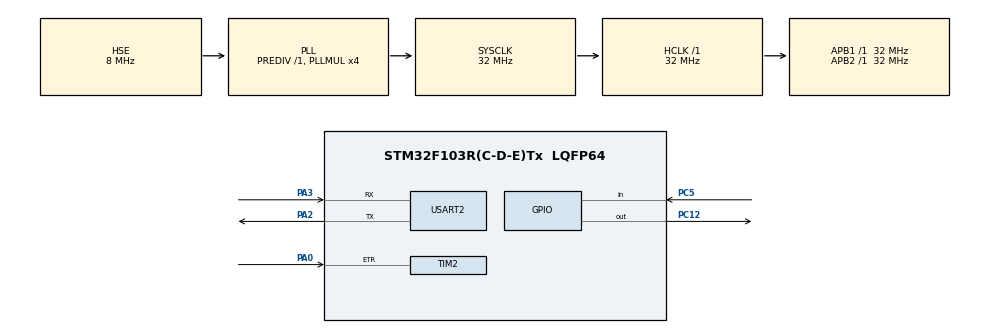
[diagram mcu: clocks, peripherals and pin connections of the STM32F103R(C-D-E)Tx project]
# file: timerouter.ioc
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Mcu.Family=STM32F1
Mcu.Name=STM32F103R(C-D-E)Tx
Mcu.Package=LQFP64
NVIC.PriorityGroup=NVIC_PRIORITYGROUP_4
NVIC.TIM2_IRQn=true\:0\:0\:false\:false\:true\:true\:true\:true
NVIC.USART2_IRQn=true\:0\:0\:false\:false\:true\:true\:true\:true
PA0-WKUP.Signal=S_TIM2_CH1_ETR
PA2.Mode=Asynchronous
PA2.Signal=USART2_TX
PA3.Mode=Asynchronous
PA3.Signal=USART2_RX
PC12.Signal=GPIO_Output
PC5.GPIO_PuPd=GPIO_PULLUP
PC5.Signal=GPIO_Input
PD0-OSC_IN.Mode=HSE-External-Oscillator
PD0-OSC_IN.Signal=RCC_OSC_IN
PD1-OSC_OUT.Mode=HSE-External-Oscillator
PD1-OSC_OUT.Signal=RCC_OSC_OUT
ProjectManager.HeapSize=0x200
ProjectManager.StackSize=0x400
ProjectManager.TargetToolchain=MDK-ARM V5.32
RCC.AHBFreq_Value=32000000
RCC.APB1Freq_Value=32000000
RCC.APB1TimFreq_Value=32000000
RCC.APB2Freq_Value=32000000
RCC.APB2TimFreq_Value=32000000
RCC.HCLKFreq_Value=32000000
RCC.PLLMUL=RCC_PLL_MUL4
RCC.PLLSourceVirtual=RCC_PLLSOURCE_HSE
RCC.SYSCLKFreq_VALUE=32000000
RCC.SYSCLKSource=RCC_SYSCLKSOURCE_PLLCLK
RCC.USBFreq_Value=32000000
SH.S_TIM2_CH1_ETR.0=TIM2_ETR,ClockSourceETR_Mode2
USART2.VirtualMode=VM_ASYNC
VP_SYS_VS_ND.Mode=No_Debug
board=custom

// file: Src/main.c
/* USER CODE BEGIN Header */
/**
  ******************************************************************************
  * @file           : main.c
  * @brief          : Main program body
  ******************************************************************************
  * @attention
  *
  * Copyright (c) 2022 STMicroelectronics.
  * All rights reserved.
  *
  * This software is licensed under terms that can be found in the LICENSE file
  * in the root directory of this software component.
  * If no LICENSE file comes with this software, it is provided AS-IS.
  *
  ******************************************************************************
  */
/* USER CODE END Header */
#include "main.h"

/* USER CODE BEGIN Includes */
#include <stdio.h>
/* USER CODE END Includes */

TIM_HandleTypeDef htim2;

UART_HandleTypeDef huart2;

/* USER CODE BEGIN PV */
uint8_t Result=0;
/* USER CODE END PV */

void SystemClock_Config(void);
static void MX_GPIO_Init(void);
static void MX_TIM2_Init(void);
static void MX_USART2_UART_Init(void);

int main(void)
{

  /* MCU Configuration--------------------------------------------------------*/

  /* Reset of all peripherals, Initializes the Flash interface and the Systick. */
  HAL_Init();

  /* Configure the system clock */
  SystemClock_Config();

  /* Initialize all configured peripherals */
  MX_GPIO_Init();
  MX_TIM2_Init();
  MX_USART2_UART_Init();
  /* USER CODE BEGIN 2 */
HAL_TIM_Base_Start(&htim2);//启动定时器2用于脉冲计数
printf("Timer count function test:");
  /* USER CODE END 2 */

  /* Infinite loop */
  while (1)
  {

    /* USER CODE BEGIN 3 */
		if(HAL_GPIO_ReadPin(GPIOC,GPIO_PIN_5)==GPIO_PIN_RESET)
				{
					HAL_Delay(10);
					if(HAL_GPIO_ReadPin(GPIOC,GPIO_PIN_5)==GPIO_PIN_RESET){
							//
						HAL_GPIO_WritePin(GPIOC,GPIO_PIN_12,GPIO_PIN_SET);
						HAL_Delay(1);
						HAL_GPIO_WritePin(GPIOC,GPIO_PIN_12,GPIO_PIN_RESET);
						HAL_Delay(1);
						Result=__HAL_TIM_GET_COUNTER(&htim2);//读取计数值
						printf("count = %d.\n",Result);///显示结果
					}
					while(HAL_GPIO_ReadPin(GPIOC,GPIO_PIN_5)==GPIO_PIN_RESET);
				}

  }
  /* USER CODE END 3 */
}

void SystemClock_Config(void)
{
  RCC_OscInitTypeDef RCC_OscInitStruct = {0};
  RCC_ClkInitTypeDef RCC_ClkInitStruct = {0};

  /** Initializes the RCC Oscillators according to the specified parameters
  * in the RCC_OscInitTypeDef structure.
  */
  RCC_OscInitStruct.OscillatorType = RCC_OSCILLATORTYPE_HSE;
  RCC_OscInitStruct.HSEState = RCC_HSE_ON;
  RCC_OscInitStruct.HSEPredivValue = RCC_HSE_PREDIV_DIV1;
  RCC_OscInitStruct.HSIState = RCC_HSI_ON;
  RCC_OscInitStruct.PLL.PLLState = RCC_PLL_ON;
  RCC_OscInitStruct.PLL.PLLSource = RCC_PLLSOURCE_HSE;
  RCC_OscInitStruct.PLL.PLLMUL = RCC_PLL_MUL4;
  if (HAL_RCC_OscConfig(&RCC_OscInitStruct) != HAL_OK)
  {
    Error_Handler();
  }

  /** Initializes the CPU, AHB and APB buses clocks
  */
  RCC_ClkInitStruct.ClockType = RCC_CLOCKTYPE_HCLK|RCC_CLOCKTYPE_SYSCLK
                              |RCC_CLOCKTYPE_PCLK1|RCC_CLOCKTYPE_PCLK2;
  RCC_ClkInitStruct.SYSCLKSource = RCC_SYSCLKSOURCE_PLLCLK;
  RCC_ClkInitStruct.AHBCLKDivider = RCC_SYSCLK_DIV1;
  RCC_ClkInitStruct.APB1CLKDivider = RCC_HCLK_DIV1;
  RCC_ClkInitStruct.APB2CLKDivider = RCC_HCLK_DIV1;

  if (HAL_RCC_ClockConfig(&RCC_ClkInitStruct, FLASH_LATENCY_1) != HAL_OK)
  {
    Error_Handler();
  }
}

static void MX_TIM2_Init(void)
{

  TIM_ClockConfigTypeDef sClockSourceConfig = {0};
  TIM_MasterConfigTypeDef sMasterConfig = {0};

  htim2.Instance = TIM2;
  htim2.Init.Prescaler = 0;
  htim2.Init.CounterMode = TIM_COUNTERMODE_UP;
  htim2.Init.Period = 65535;
  htim2.Init.ClockDivision = TIM_CLOCKDIVISION_DIV1;
  htim2.Init.AutoReloadPreload = TIM_AUTORELOAD_PRELOAD_DISABLE;
  if (HAL_TIM_Base_Init(&htim2) != HAL_OK)
  {
    Error_Handler();
  }
  sClockSourceConfig.ClockSource = TIM_CLOCKSOURCE_ETRMODE2;
  sClockSourceConfig.ClockPolarity = TIM_CLOCKPOLARITY_NONINVERTED;
  sClockSourceConfig.ClockPrescaler = TIM_CLOCKPRESCALER_DIV1;
  sClockSourceConfig.ClockFilter = 0;
  if (HAL_TIM_ConfigClockSource(&htim2, &sClockSourceConfig) != HAL_OK)
  {
    Error_Handler();
  }
  sMasterConfig.MasterOutputTrigger = TIM_TRGO_RESET;
  sMasterConfig.MasterSlaveMode = TIM_MASTERSLAVEMODE_DISABLE;
  if (HAL_TIMEx_MasterConfigSynchronization(&htim2, &sMasterConfig) != HAL_OK)
  {
    Error_Handler();
  }

}

static void MX_USART2_UART_Init(void)
{

  huart2.Instance = USART2;
  huart2.Init.BaudRate = 115200;
  huart2.Init.WordLength = UART_WORDLENGTH_8B;
  huart2.Init.StopBits = UART_STOPBITS_1;
  huart2.Init.Parity = UART_PARITY_NONE;
  huart2.Init.Mode = UART_MODE_TX_RX;
  huart2.Init.HwFlowCtl = UART_HWCONTROL_NONE;
  huart2.Init.OverSampling = UART_OVERSAMPLING_16;
  if (HAL_UART_Init(&huart2) != HAL_OK)
  {
    Error_Handler();
  }

}

static void MX_GPIO_Init(void)
{
  GPIO_InitTypeDef GPIO_InitStruct = {0};

  /* GPIO Ports Clock Enable */
  __HAL_RCC_GPIOD_CLK_ENABLE();
  __HAL_RCC_GPIOA_CLK_ENABLE();
  __HAL_RCC_GPIOC_CLK_ENABLE();

  /*Configure GPIO pin Output Level */
  HAL_GPIO_WritePin(GPIOC, GPIO_PIN_12, GPIO_PIN_RESET);

  /*Configure GPIO pin : PC5 */
  GPIO_InitStruct.Pin = GPIO_PIN_5;
  GPIO_InitStruct.Mode = GPIO_MODE_INPUT;
  GPIO_InitStruct.Pull = GPIO_PULLUP;
  HAL_GPIO_Init(GPIOC, &GPIO_InitStruct);

  /*Configure GPIO pin : PC12 */
  GPIO_InitStruct.Pin = GPIO_PIN_12;
  GPIO_InitStruct.Mode = GPIO_MODE_OUTPUT_PP;
  GPIO_InitStruct.Pull = GPIO_NOPULL;
  GPIO_InitStruct.Speed = GPIO_SPEED_FREQ_LOW;
  HAL_GPIO_Init(GPIOC, &GPIO_InitStruct);

}

/* USER CODE BEGIN 4 */
int fputc(int ch,FILE*f){
//
	HAL_UART_Transmit(&huart2,(uint8_t *)"1111",strlen("1111"),0xFFFF);
	return ch;

}

/* USER CODE END 4 */

void Error_Handler(void)
{
  __disable_irq();
  while (1)
  {
  }
}
